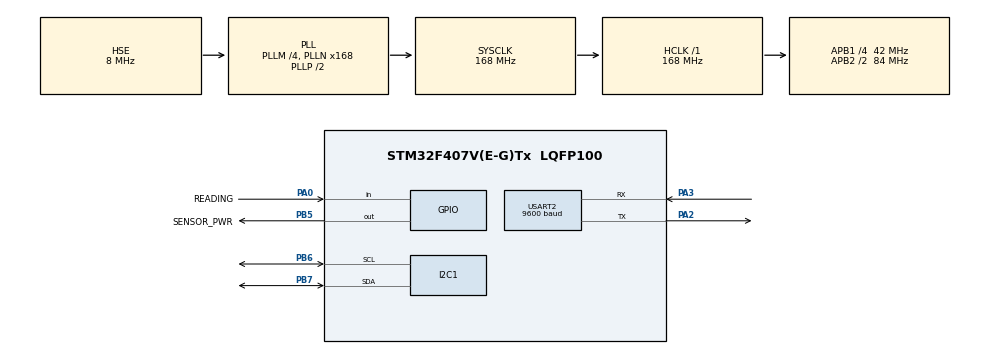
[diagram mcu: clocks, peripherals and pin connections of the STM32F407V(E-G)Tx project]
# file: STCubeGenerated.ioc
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Mcu.Family=STM32F4
Mcu.Name=STM32F407V(E-G)Tx
Mcu.Package=LQFP100
NVIC.PriorityGroup=NVIC_PRIORITYGROUP_4
PA0-WKUP.GPIO_Label=READING
PA0-WKUP.Signal=GPIO_Input
PA2.Mode=Asynchronous
PA2.Signal=USART2_TX
PA3.Mode=Asynchronous
PA3.Signal=USART2_RX
PB5.GPIO_Label=SENSOR_PWR
PB5.Signal=GPIO_Output
PB6.Mode=I2C
PB6.Signal=I2C1_SCL
PB7.Mode=I2C
PB7.Signal=I2C1_SDA
PH0-OSC_IN.Mode=HSE-External-Oscillator
PH0-OSC_IN.Signal=RCC_OSC_IN
PH1-OSC_OUT.Mode=HSE-External-Oscillator
PH1-OSC_OUT.Signal=RCC_OSC_OUT
ProjectManager.HeapSize=0x200
ProjectManager.StackSize=0x400
ProjectManager.TargetToolchain=MDK-ARM V5
RCC.48MHZClocksFreq_Value=84000000
RCC.AHBFreq_Value=168000000
RCC.APB1CLKDivider=RCC_HCLK_DIV4
RCC.APB1Freq_Value=42000000
RCC.APB1TimFreq_Value=84000000
RCC.APB2CLKDivider=RCC_HCLK_DIV2
RCC.APB2Freq_Value=84000000
RCC.APB2TimFreq_Value=168000000
RCC.CortexFreq_Value=168000000
RCC.HCLKFreq_Value=168000000
RCC.HSE_VALUE=8000000
RCC.HSI_VALUE=16000000
RCC.LSE_VALUE=32768
RCC.PLLM=4
RCC.PLLN=168
RCC.PLLSourceVirtual=RCC_PLLSOURCE_HSE
RCC.SYSCLKFreq_VALUE=168000000
RCC.SYSCLKSource=RCC_SYSCLKSOURCE_PLLCLK
RCC.VCOOutputFreq_Value=336000000
USART2.BaudRate=9600
USART2.VirtualMode=VM_ASYNC
board=custom

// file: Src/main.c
/* USER CODE BEGIN Header */
/**
  ******************************************************************************
  * @file           : main.c
  * @brief          : Main program body
  ******************************************************************************
  * @attention
  *
  * <h2><center>&copy; Copyright (c) 2022 STMicroelectronics.
  * All rights reserved.</center></h2>
  *
  * This software component is licensed by ST under BSD 3-Clause license,
  * the "License"; You may not use this file except in compliance with the
  * License. You may obtain a copy of the License at:
  *                        opensource.org/licenses/BSD-3-Clause
  *
  ******************************************************************************
  */
/* USER CODE END Header */
#include "main.h"

/* USER CODE BEGIN Includes */

#include "vl53l1_api.h"

/* USER CODE END Includes */

 I2C_HandleTypeDef hi2c1;

UART_HandleTypeDef huart2;

void SystemClock_Config(void);
static void MX_GPIO_Init(void);
static void MX_I2C1_Init(void);
static void MX_USART2_UART_Init(void);

/* USER CODE BEGIN 0 */

static VL53L1_Error initSensor( VL53L1_Dev_t * device );
uint8_t crc8(unsigned char*buffer, unsigned char size);

/* USER CODE END 0 */

int main(void)
{

  /* MCU Configuration--------------------------------------------------------*/

  /* Reset of all peripherals, Initializes the Flash interface and the Systick. */
  HAL_Init();

  /* Configure the system clock */
  SystemClock_Config();

  /* Initialize all configured peripherals */
  MX_GPIO_Init();
  MX_I2C1_Init();
  MX_USART2_UART_Init();
  /* USER CODE BEGIN 2 */

  static VL53L1_Dev_t device;
  static VL53L1_DEV dev = &device;

  static volatile uint16_t res = 0;

  device.I2cHandle=&hi2c1;
  device.I2cDevAddr=0x52;

  HAL_GPIO_WritePin(SENSOR_PWR_GPIO_Port,SENSOR_PWR_Pin,GPIO_PIN_SET);

  initSensor(dev);

  uint8_t Data[7] = {0xFF,0xDD,0,0,0,0,'\n'};
  //uint8_t Data[6] = {50,51,52,53,54,'\n'};

  static VL53L1_RangingMeasurementData_t result;
  static VL53L1_Error Status;

  /* USER CODE END 2 */

  /* Infinite loop */
    while (1) {

    /* USER CODE BEGIN 3 */
        if (HAL_GPIO_ReadPin(READING_GPIO_Port,READING_Pin)) {
            for (int i = 0; i < 1000; ++i) {
                Status = VL53L1_WaitMeasurementDataReady(dev);
                if(!Status)
                {
                    Status = VL53L1_GetRangingMeasurementData(dev, &result);
                    Status = VL53L1_ClearInterruptAndStartMeasurement(dev);
                    {
                        Data[2] = (uint8_t)(result.RangeMilliMeter & 0xFF);
                        Data[3] = (uint8_t)((result.RangeMilliMeter >> 8) & 0xFF);
                        Data[4] = (uint8_t)result.RangeStatus;
                        Data[5] = crc8(Data,5);
                        HAL_UART_Transmit(&huart2,Data,7,10);
                    }
                }

            }
        }
    }
  /* USER CODE END 3 */
}

void SystemClock_Config(void)
{
  RCC_OscInitTypeDef RCC_OscInitStruct = {0};
  RCC_ClkInitTypeDef RCC_ClkInitStruct = {0};

  /** Configure the main internal regulator output voltage
  */
  __HAL_RCC_PWR_CLK_ENABLE();
  __HAL_PWR_VOLTAGESCALING_CONFIG(PWR_REGULATOR_VOLTAGE_SCALE1);

  /** Initializes the RCC Oscillators according to the specified parameters
  * in the RCC_OscInitTypeDef structure.
  */
  RCC_OscInitStruct.OscillatorType = RCC_OSCILLATORTYPE_HSE;
  RCC_OscInitStruct.HSEState = RCC_HSE_ON;
  RCC_OscInitStruct.PLL.PLLState = RCC_PLL_ON;
  RCC_OscInitStruct.PLL.PLLSource = RCC_PLLSOURCE_HSE;
  RCC_OscInitStruct.PLL.PLLM = 4;
  RCC_OscInitStruct.PLL.PLLN = 168;
  RCC_OscInitStruct.PLL.PLLP = RCC_PLLP_DIV2;
  RCC_OscInitStruct.PLL.PLLQ = 4;
  if (HAL_RCC_OscConfig(&RCC_OscInitStruct) != HAL_OK)
  {
    Error_Handler();
  }

  /** Initializes the CPU, AHB and APB buses clocks
  */
  RCC_ClkInitStruct.ClockType = RCC_CLOCKTYPE_HCLK|RCC_CLOCKTYPE_SYSCLK
                              |RCC_CLOCKTYPE_PCLK1|RCC_CLOCKTYPE_PCLK2;
  RCC_ClkInitStruct.SYSCLKSource = RCC_SYSCLKSOURCE_PLLCLK;
  RCC_ClkInitStruct.AHBCLKDivider = RCC_SYSCLK_DIV1;
  RCC_ClkInitStruct.APB1CLKDivider = RCC_HCLK_DIV4;
  RCC_ClkInitStruct.APB2CLKDivider = RCC_HCLK_DIV2;

  if (HAL_RCC_ClockConfig(&RCC_ClkInitStruct, FLASH_LATENCY_5) != HAL_OK)
  {
    Error_Handler();
  }
}

static void MX_I2C1_Init(void)
{

  hi2c1.Instance = I2C1;
  hi2c1.Init.ClockSpeed = 100000;
  hi2c1.Init.DutyCycle = I2C_DUTYCYCLE_2;
  hi2c1.Init.OwnAddress1 = 0;
  hi2c1.Init.AddressingMode = I2C_ADDRESSINGMODE_7BIT;
  hi2c1.Init.DualAddressMode = I2C_DUALADDRESS_DISABLE;
  hi2c1.Init.OwnAddress2 = 0;
  hi2c1.Init.GeneralCallMode = I2C_GENERALCALL_DISABLE;
  hi2c1.Init.NoStretchMode = I2C_NOSTRETCH_DISABLE;
  if (HAL_I2C_Init(&hi2c1) != HAL_OK)
  {
    Error_Handler();
  }

}

static void MX_USART2_UART_Init(void)
{

  huart2.Instance = USART2;
  huart2.Init.BaudRate = 9600;
  huart2.Init.WordLength = UART_WORDLENGTH_8B;
  huart2.Init.StopBits = UART_STOPBITS_1;
  huart2.Init.Parity = UART_PARITY_NONE;
  huart2.Init.Mode = UART_MODE_TX_RX;
  huart2.Init.HwFlowCtl = UART_HWCONTROL_NONE;
  huart2.Init.OverSampling = UART_OVERSAMPLING_16;
  if (HAL_UART_Init(&huart2) != HAL_OK)
  {
    Error_Handler();
  }

}

static void MX_GPIO_Init(void)
{
  GPIO_InitTypeDef GPIO_InitStruct = {0};

  /* GPIO Ports Clock Enable */
  __HAL_RCC_GPIOH_CLK_ENABLE();
  __HAL_RCC_GPIOA_CLK_ENABLE();
  __HAL_RCC_GPIOB_CLK_ENABLE();

  /*Configure GPIO pin Output Level */
  HAL_GPIO_WritePin(SENSOR_PWR_GPIO_Port, SENSOR_PWR_Pin, GPIO_PIN_RESET);

  /*Configure GPIO pin : READING_Pin */
  GPIO_InitStruct.Pin = READING_Pin;
  GPIO_InitStruct.Mode = GPIO_MODE_INPUT;
  GPIO_InitStruct.Pull = GPIO_NOPULL;
  HAL_GPIO_Init(READING_GPIO_Port, &GPIO_InitStruct);

  /*Configure GPIO pin : SENSOR_PWR_Pin */
  GPIO_InitStruct.Pin = SENSOR_PWR_Pin;
  GPIO_InitStruct.Mode = GPIO_MODE_OUTPUT_PP;
  GPIO_InitStruct.Pull = GPIO_NOPULL;
  GPIO_InitStruct.Speed = GPIO_SPEED_FREQ_LOW;
  HAL_GPIO_Init(SENSOR_PWR_GPIO_Port, &GPIO_InitStruct);

}

/* USER CODE BEGIN 4 */

static VL53L1_Error initSensor( VL53L1_Dev_t * device ) {

    VL53L1_Error Status=VL53L1_ERROR_NONE;
/*
    static uint32_t refSpadCount     = 0;
    static uint8_t  isApertureSpads  = 0;
    static uint8_t  VhvSettings      = 0;
    static uint8_t  PhaseCal         = 0;
*/

    Status = VL53L1_WaitDeviceBooted(device);
    if (Status) return Status;
    Status = VL53L1_DataInit(device);
    if (Status) return Status;
    Status = VL53L1_StaticInit(device);
    if (Status) return Status;
    Status = VL53L1_PerformRefSpadManagement(device);
    if (Status) return Status;
    Status = VL53L1_SetDistanceMode(device, VL53L1_DISTANCEMODE_SHORT);
    if (Status) return Status;
    Status = VL53L1_SetInterMeasurementPeriodMilliSeconds(device, 25);
    if (Status) return Status;
    Status = VL53L1_SetMeasurementTimingBudgetMicroSeconds(device, 20000);
    if (Status) return Status;
    Status = VL53L1_PerformOffsetSimpleCalibration(device,140);
    if (Status) return Status;
    VL53L1_UserRoi_t roiConfig;
    roiConfig.TopLeftX = 6;
    roiConfig.TopLeftY = 9;
    roiConfig.BotRightX = 9;
    roiConfig.BotRightY = 6;
    Status = VL53L1_SetUserROI(device, &roiConfig);
    if (Status) return Status;
    Status = VL53L1_StartMeasurement(device);
    return Status;
}

uint8_t crc8(unsigned char*buffer, unsigned char size) {
    uint8_t crc, i;
    crc = 0xFF;
    while (size--) {
        crc ^= *buffer++;
        for (i = 0; i < 8; i++) {
            if (crc & 0x80) crc = (crc << 1) ^ 0x31;
            else crc <<= 1;
        }
    }

    return crc;
}

/* USER CODE END 4 */

void Error_Handler(void)
{
  __disable_irq();
  while (1) {
  }
}
